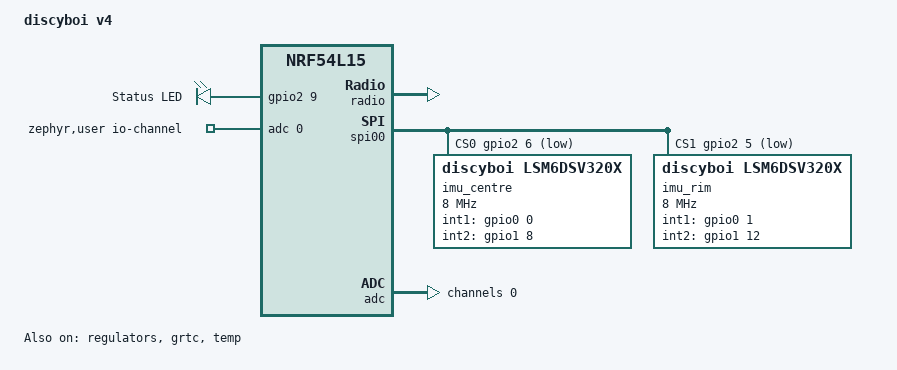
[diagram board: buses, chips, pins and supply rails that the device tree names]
/*
 * discyboi v4: Fanstel BC15M (nRF54L15) + 2x LSM6DSV320X on SPIM00.
 * Pin assignments follow hardware v4 gen/design.py (see ../../../../../v4/README.md).
 */
/dts-v1/;

#include <nordic/nrf54l15_cpuapp.dtsi>
#include <zephyr/dt-bindings/adc/nrf-saadc.h>
#include "discyboi_nrf54l15_cpuapp-pinctrl.dtsi"

/ {
	model = "discyboi v4";
	compatible = "discyboi,discyboi-nrf54l15-cpuapp";

	chosen {
		zephyr,code-partition = &slot0_partition;
		zephyr,sram = &cpuapp_sram;
		zephyr,flash-controller = &rram_controller;
		zephyr,flash = &cpuapp_rram;
	};

	leds {
		compatible = "gpio-leds";
		led_green: led_0 {
			gpios = <&gpio2 9 GPIO_ACTIVE_HIGH>;  /* A5 / P2.09 -> R5 -> D1 */
			label = "Status LED";
		};
	};

	aliases {
		led0 = &led_green;
	};

	zephyr,user {
		/* VBAT through a 10M/10M divider (+100 nF) -> P1.06 / AIN2 */
		io-channels = <&adc 0>;
	};
};

&cpuapp_sram {
	status = "okay";
};

/* TODO(bring-up): check whether the BC15M fits the DC/DC inductor. Without it the
 * main regulator must stay in LDO mode (the default here). */
&regulators {
	status = "okay";
};

&grtc {
	owned-channels = <0 1 2 3 4 5 6 7 8 9 10 11>;
	child-owned-channels = <3 4 7 8 9 10 11>;
	status = "okay";
};

&cpuapp_rram {
	partitions {
		compatible = "fixed-partitions";
		#address-cells = <1>;
		#size-cells = <1>;
		/* Same layout as the nRF54L15 DK, leaving room for MCUboot + BLE DFU later. */
		boot_partition: partition@0 {
			label = "mcuboot";
			reg = <0x0 DT_SIZE_K(64)>;
		};
		slot0_partition: partition@10000 {
			label = "image-0";
			reg = <0x10000 DT_SIZE_K(648)>;
		};
		slot1_partition: partition@b2000 {
			label = "image-1";
			reg = <0xb2000 DT_SIZE_K(648)>;
		};
		storage_partition: partition@154000 {
			label = "storage";
			reg = <0x154000 DT_SIZE_K(68)>;
		};
	};
};

&gpio0 { status = "okay"; };
&gpio1 { status = "okay"; };
&gpio2 { status = "okay"; };
&gpiote20 { status = "okay"; };   /* P1 interrupts */
&gpiote30 { status = "okay"; };   /* P0 interrupts */
&radio { status = "okay"; };
&temp { status = "okay"; };
&clock { status = "okay"; };

&spi00 {
	status = "okay";
	pinctrl-0 = <&spi00_default>;
	pinctrl-1 = <&spi00_sleep>;
	pinctrl-names = "default", "sleep";
	cs-gpios = <&gpio2 6 GPIO_ACTIVE_LOW>,   /* F2 / P2.06 IMU_CS (U5, centre) */
		   <&gpio2 5 GPIO_ACTIVE_LOW>;   /* A6 / P2.05 ACC_CS (U3, r = 9 mm) */

	imu_centre: imu@0 {
		compatible = "discyboi,lsm6dsv320x";
		reg = <0>;
		spi-max-frequency = <8000000>;
		int1-gpios = <&gpio0 0 GPIO_ACTIVE_HIGH>;   /* A2 / P0.00 */
		int2-gpios = <&gpio1 8 GPIO_ACTIVE_HIGH>;   /* B1 / P1.08 */
		radius-um = <0>;
	};

	imu_rim: imu@1 {
		compatible = "discyboi,lsm6dsv320x";
		reg = <1>;
		spi-max-frequency = <8000000>;
		int1-gpios = <&gpio0 1 GPIO_ACTIVE_HIGH>;   /* A1 / P0.01 */
		int2-gpios = <&gpio1 12 GPIO_ACTIVE_HIGH>;  /* D1 / P1.12 */
		radius-um = <9000>;
	};
};

&adc {
	status = "okay";
	#address-cells = <1>;
	#size-cells = <0>;

	channel@0 {
		reg = <0>;
		zephyr,gain = "ADC_GAIN_1_4";
		zephyr,reference = "ADC_REF_INTERNAL";
		zephyr,acquisition-time = <ADC_ACQ_TIME(ADC_ACQ_TIME_MICROSECONDS, 40)>;
		zephyr,input-positive = <NRF_SAADC_AIN2>;  /* P1.06 */
		zephyr,resolution = <12>;
		zephyr,oversampling = <4>;
	};
};
